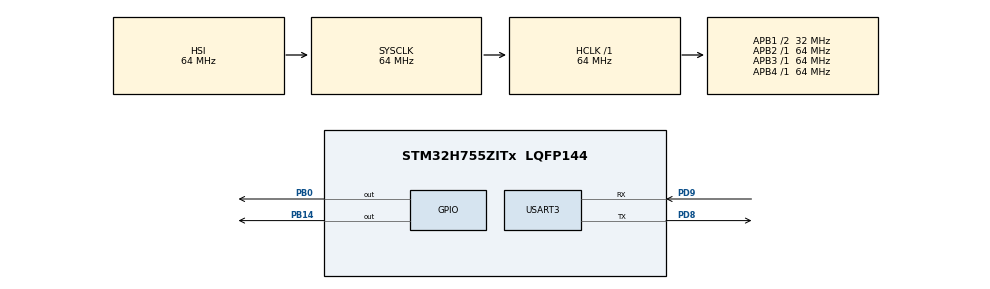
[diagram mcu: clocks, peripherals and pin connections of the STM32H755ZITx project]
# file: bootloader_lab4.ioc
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CortexM4.IPs=FATFS_M4\:I,FREERTOS_M4\:I,IWDG2\:I,RCC,WWDG2\:I,DMA,BDMA,MDMA,NVIC2\:I,ETH,DEBUG,PDM2PCM_M4\:I,PWR,RESMGR_UTILITY,SYS_M4\:I,USB_DEVICE_M4\:I,USB_HOST_M4\:I,CORTEX_M4\:I,GPIO,OPENAMP_M4\:I,VREFBUF,NUCLEO-H755ZI-Q
CortexM7.IPs=FATFS_M7\:I,FREERTOS_M7\:I,IWDG1\:I,RCC\:I,WWDG1\:I,DMA\:I,BDMA\:I,MDMA\:I,NVIC1\:I,ETH\:I,USART3\:I,USB_OTG_FS\:I,USB_OTG_FS1\:I,SYS\:I,CORTEX_M7\:I,DEBUG\:I,PDM2PCM_M7\:I,PWR\:I,RESMGR_UTILITY\:I,USB_DEVICE_M7\:I,USB_HOST_M7\:I,GPIO\:I,OPENAMP_M7\:I,VREFBUF\:I,NUCLEO-H755ZI-Q\:I
CortexM7.Pins=PB0,PB14
Mcu.Family=STM32H7
Mcu.Name=STM32H755ZITx
Mcu.Package=LQFP144
NVIC1.PriorityGroup=NVIC_PRIORITYGROUP_4
NVIC2.PriorityGroup=NVIC_PRIORITYGROUP_4
PA1.PinAttribute=CortexM7
PA1.Signal=ETH_REF_CLK
PA11.PinAttribute=CortexM7
PA11.Signal=USB_OTG_FS_DM
PA12.PinAttribute=CortexM7
PA12.Signal=USB_OTG_FS_DP
PA2.PinAttribute=CortexM7
PA2.Signal=ETH_MDIO
PA7.PinAttribute=CortexM7
PA7.Signal=ETH_CRS_DV
PA8.PinAttribute=CortexM7
PA8.Signal=USB_OTG_FS_SOF
PA9.PinAttribute=CortexM7
PA9.Signal=USB_OTG_FS_VBUS
PB0.PinAttribute=CortexM7
PB0.Signal=GPIO_Output
PB13.PinAttribute=CortexM7
PB13.Signal=ETH_TXD1
PB14.PinAttribute=CortexM7
PB14.Signal=GPIO_Output
PC1.PinAttribute=CortexM7
PC1.Signal=ETH_MDC
PC14-OSC32_IN\ (OSC32_IN).PinAttribute=Free
PC14-OSC32_IN\ (OSC32_IN).Signal=RCC_OSC32_IN
PC15-OSC32_OUT\ (OSC32_OUT).PinAttribute=Free
PC15-OSC32_OUT\ (OSC32_OUT).Signal=RCC_OSC32_OUT
PC4.PinAttribute=CortexM7
PC4.Signal=ETH_RXD0
PC5.PinAttribute=CortexM7
PC5.Signal=ETH_RXD1
PD8.Mode=Asynchronous
PD8.PinAttribute=CortexM7
PD8.Signal=USART3_TX
PD9.Mode=Asynchronous
PD9.PinAttribute=CortexM7
PD9.Signal=USART3_RX
PG11.PinAttribute=CortexM7
PG11.Signal=ETH_TX_EN
PG13.PinAttribute=CortexM7
PG13.Signal=ETH_TXD0
PH0-OSC_IN\ (PH0).PinAttribute=Free
PH0-OSC_IN\ (PH0).Signal=RCC_OSC_IN
PH1-OSC_OUT\ (PH1).PinAttribute=Free
PH1-OSC_OUT\ (PH1).Signal=RCC_OSC_OUT
ProjectManager.HeapSize=M4-0x200,M7-0x200
ProjectManager.StackSize=M4-0x400,M7-0x400
ProjectManager.TargetToolchain=STM32CubeIDE
RCC.ADCFreq_Value=129000000
RCC.APB1Freq_Value=32000000
RCC.APB2Freq_Value=64000000
RCC.APB3Freq_Value=64000000
RCC.APB4Freq_Value=64000000
RCC.CortexFreq_Value=64000000
RCC.D2PPRE1=RCC_APB1_DIV2
RCC.DIVM1=5
RCC.DIVN1=48
RCC.DIVQ1=5
RCC.HCLKFreq_Value=64000000
RCC.PLL2FRACN=0
RCC.PLL3FRACN=0
RCC.PLLFRACN=0
RCC.SYSCLKFreq_VALUE=64000000
RCC.SupplySource=PWR_DIRECT_SMPS_SUPPLY
RCC.USBFreq_Value=122880000
USART3.VirtualMode-Asynchronous=VM_ASYNC
VP_SYS_M4_VS_Systick.Mode=SysTick
board=NUCLEO-H755ZI-Q

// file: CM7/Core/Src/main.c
/* USER CODE BEGIN Header */
/**
  ******************************************************************************
  * @file           : main.c
  * @brief          : Main program body
  ******************************************************************************
  * @attention
  *
  * Copyright (c) 2026 STMicroelectronics.
  * All rights reserved.
  *
  * This software is licensed under terms that can be found in the LICENSE file
  * in the root directory of this software component.
  * If no LICENSE file comes with this software, it is provided AS-IS.
  *
  ******************************************************************************
  */
/* USER CODE END Header */
#include "main.h"

/* USER CODE BEGIN Includes */
#include "string.h"
#include "stdio.h"
/* USER CODE END Includes */

/* USER CODE BEGIN PD */

/* DUAL_CORE_BOOT_SYNC_SEQUENCE: Define for dual core boot synchronization    */
/*                             demonstration code based on hardware semaphore */
/* This define is present in both CM7/CM4 projects                            */
/* To comment when developping/debugging on a single core                     */
#define DUAL_CORE_BOOT_SYNC_SEQUENCE

#if defined(DUAL_CORE_BOOT_SYNC_SEQUENCE)
#ifndef HSEM_ID_0
#define HSEM_ID_0 (0U) /* HW semaphore 0*/
#endif
#endif /* DUAL_CORE_BOOT_SYNC_SEQUENCE */

/* USER CODE END PD */

UART_HandleTypeDef huart3;

void SystemClock_Config(void);
static void MX_GPIO_Init(void);
static void MX_USART3_UART_Init(void);

/* USER CODE BEGIN 0 */
static void print(const char *c){
	HAL_UART_Transmit(&huart3, (uint8_t *)c,(uint16_t)strlen(c),100);
}

#ifndef UID_BASE
#define UID_BASE 0x1FF1E800UL
#endif
static  void print_uid(void){
	uint32_t w0=*(volatile uint32_t *)(UID_BASE+0X00U);
	uint32_t w1=*(volatile uint32_t *)(UID_BASE+0X04U);
	uint32_t w2=*(volatile uint32_t *)(UID_BASE+0X08U);
	char line[64];
	snprintf(line, sizeof line, "UID: %08lX-%08lX-%08lX\r\n",
	           (unsigned long)w0, (unsigned long)w1, (unsigned long)w2);
	  print(line);

}
#define APP_ADDRESS   0x08020400UL
#define APP_FLASH_END 0x08100000UL   /* where the CM4 image starts */

static int app_is_valid(uint32_t sp, uint32_t reset)
{
  if (sp <= 0x24000000UL || sp > 0x24080000UL) return 0;           /* SP must be inside AXI SRAM */
  if (reset < APP_ADDRESS || reset >= APP_FLASH_END) return 0;     /* reset handler must be in app flash */
  if ((reset & 1U) == 0U) return 0;                                /* Thumb bit must be set */
  return 1;
}

static void check_app(void)
{
  uint32_t sp  = *(volatile uint32_t *)APP_ADDRESS;
  uint32_t rst = *(volatile uint32_t *)(APP_ADDRESS + 4U);
  char line[80];

  snprintf(line, sizeof line, "APP SP=%08lX RESET=%08lX %s\r\n",
           (unsigned long)sp, (unsigned long)rst,
           app_is_valid(sp, rst) ? "valid" : "INVALID");
  print(line);
}
static void jump_to_application(void)
{
  uint32_t sp  = *(volatile uint32_t *)APP_ADDRESS;
  uint32_t rst = *(volatile uint32_t *)(APP_ADDRESS + 4U);

  if (!app_is_valid(sp, rst)) return;

  print("Jumping to application\r\n");

  __disable_irq();
  HAL_UART_DeInit(&huart3);
  SysTick->CTRL = 0; SysTick->LOAD = 0; SysTick->VAL = 0;
  for (int i = 0; i < 8; i++) { NVIC->ICER[i] = 0xFFFFFFFFUL; NVIC->ICPR[i] = 0xFFFFFFFFUL; }

  SCB->VTOR = APP_ADDRESS;
  __DSB(); __ISB();
  __enable_irq();
  __asm volatile ("msr msp, %0 \n bx %1 \n" : : "r"(sp), "r"(rst));
}
/* USER CODE END 0 */

int main(void)
{

/* USER CODE BEGIN Boot_Mode_Sequence_0 */
#if defined(DUAL_CORE_BOOT_SYNC_SEQUENCE)
  int32_t timeout;
#endif /* DUAL_CORE_BOOT_SYNC_SEQUENCE */
/* USER CODE END Boot_Mode_Sequence_0 */

/* USER CODE BEGIN Boot_Mode_Sequence_1 */
#if defined(DUAL_CORE_BOOT_SYNC_SEQUENCE)
  /* Wait until CPU2 boots and enters in stop mode or timeout*/
  timeout = 0xFFFF;
  while((__HAL_RCC_GET_FLAG(RCC_FLAG_D2CKRDY) != RESET) && (timeout-- > 0));
  if ( timeout < 0 )
  {
  Error_Handler();
  }
#endif /* DUAL_CORE_BOOT_SYNC_SEQUENCE */
/* USER CODE END Boot_Mode_Sequence_1 */
  /* MCU Configuration--------------------------------------------------------*/

  /* Reset of all peripherals, Initializes the Flash interface and the Systick. */
  HAL_Init();

  /* Configure the system clock */
  SystemClock_Config();
/* USER CODE BEGIN Boot_Mode_Sequence_2 */
//#if defined(DUAL_CORE_BOOT_SYNC_SEQUENCE)
#if 0
/* When system initialization is finished, Cortex-M7 will release Cortex-M4 by means of
HSEM notification */
/*HW semaphore Clock enable*/
__HAL_RCC_HSEM_CLK_ENABLE();
/*Take HSEM */
//HAL_HSEM_FastTake(HSEM_ID_0);
/*Release HSEM in order to notify the CPU2(CM4)*/
HAL_HSEM_Release(HSEM_ID_0,0);
/* wait until CPU2 wakes up from stop mode */
timeout = 0xFFFF;
while((__HAL_RCC_GET_FLAG(RCC_FLAG_D2CKRDY) == RESET) && (timeout-- > 0));
if ( timeout < 0 )
{
Error_Handler();
}
#endif /* DUAL_CORE_BOOT_SYNC_SEQUENCE */
/* USER CODE END Boot_Mode_Sequence_2 */

  /* Initialize all configured peripherals */
  MX_GPIO_Init();
  MX_USART3_UART_Init();
  /* USER CODE BEGIN 2 */
  print("\r\n=== ELE304 bootloader ===\r\n");
  print_uid();
  check_app();
  jump_to_application();
  print("No valid application\r\n");   /* only reached if the jump was refused */
  /* USER CODE END 2 */

  /* Infinite loop */
  while (1)
  {

  }
}

void SystemClock_Config(void)
{
  RCC_OscInitTypeDef RCC_OscInitStruct = {0};
  RCC_ClkInitTypeDef RCC_ClkInitStruct = {0};

  /** Supply configuration update enable
  */
  HAL_PWREx_ConfigSupply(PWR_DIRECT_SMPS_SUPPLY);

  /** Configure the main internal regulator output voltage
  */
  __HAL_PWR_VOLTAGESCALING_CONFIG(PWR_REGULATOR_VOLTAGE_SCALE3);

  while(!__HAL_PWR_GET_FLAG(PWR_FLAG_VOSRDY)) {}

  /** Initializes the RCC Oscillators according to the specified parameters
  * in the RCC_OscInitTypeDef structure.
  */
  RCC_OscInitStruct.OscillatorType = RCC_OSCILLATORTYPE_HSI;
  RCC_OscInitStruct.HSIState = RCC_HSI_DIV1;
  RCC_OscInitStruct.HSICalibrationValue = RCC_HSICALIBRATION_DEFAULT;
  RCC_OscInitStruct.PLL.PLLState = RCC_PLL_NONE;
  if (HAL_RCC_OscConfig(&RCC_OscInitStruct) != HAL_OK)
  {
    Error_Handler();
  }

  /** Initializes the CPU, AHB and APB buses clocks
  */
  RCC_ClkInitStruct.ClockType = RCC_CLOCKTYPE_HCLK|RCC_CLOCKTYPE_SYSCLK
                              |RCC_CLOCKTYPE_PCLK1|RCC_CLOCKTYPE_PCLK2
                              |RCC_CLOCKTYPE_D3PCLK1|RCC_CLOCKTYPE_D1PCLK1;
  RCC_ClkInitStruct.SYSCLKSource = RCC_SYSCLKSOURCE_HSI;
  RCC_ClkInitStruct.SYSCLKDivider = RCC_SYSCLK_DIV1;
  RCC_ClkInitStruct.AHBCLKDivider = RCC_HCLK_DIV1;
  RCC_ClkInitStruct.APB3CLKDivider = RCC_APB3_DIV1;
  RCC_ClkInitStruct.APB1CLKDivider = RCC_APB1_DIV2;
  RCC_ClkInitStruct.APB2CLKDivider = RCC_APB2_DIV1;
  RCC_ClkInitStruct.APB4CLKDivider = RCC_APB4_DIV1;

  if (HAL_RCC_ClockConfig(&RCC_ClkInitStruct, FLASH_LATENCY_1) != HAL_OK)
  {
    Error_Handler();
  }
}

static void MX_USART3_UART_Init(void)
{

  huart3.Instance = USART3;
  huart3.Init.BaudRate = 115200;
  huart3.Init.WordLength = UART_WORDLENGTH_8B;
  huart3.Init.StopBits = UART_STOPBITS_1;
  huart3.Init.Parity = UART_PARITY_NONE;
  huart3.Init.Mode = UART_MODE_TX_RX;
  huart3.Init.HwFlowCtl = UART_HWCONTROL_NONE;
  huart3.Init.OverSampling = UART_OVERSAMPLING_16;
  huart3.Init.OneBitSampling = UART_ONE_BIT_SAMPLE_DISABLE;
  huart3.Init.ClockPrescaler = UART_PRESCALER_DIV1;
  huart3.AdvancedInit.AdvFeatureInit = UART_ADVFEATURE_NO_INIT;
  if (HAL_UART_Init(&huart3) != HAL_OK)
  {
    Error_Handler();
  }
  if (HAL_UARTEx_SetTxFifoThreshold(&huart3, UART_TXFIFO_THRESHOLD_1_8) != HAL_OK)
  {
    Error_Handler();
  }
  if (HAL_UARTEx_SetRxFifoThreshold(&huart3, UART_RXFIFO_THRESHOLD_1_8) != HAL_OK)
  {
    Error_Handler();
  }
  if (HAL_UARTEx_DisableFifoMode(&huart3) != HAL_OK)
  {
    Error_Handler();
  }

}

static void MX_GPIO_Init(void)
{
  GPIO_InitTypeDef GPIO_InitStruct = {0};

  /* GPIO Ports Clock Enable */
  __HAL_RCC_GPIOC_CLK_ENABLE();
  __HAL_RCC_GPIOA_CLK_ENABLE();
  __HAL_RCC_GPIOB_CLK_ENABLE();
  __HAL_RCC_GPIOD_CLK_ENABLE();
  __HAL_RCC_GPIOG_CLK_ENABLE();

  /*Configure GPIO pin Output Level */
  HAL_GPIO_WritePin(GPIOB, GPIO_PIN_0|GPIO_PIN_14, GPIO_PIN_RESET);

  /*Configure GPIO pins : PC1 PC4 PC5 */
  GPIO_InitStruct.Pin = GPIO_PIN_1|GPIO_PIN_4|GPIO_PIN_5;
  GPIO_InitStruct.Mode = GPIO_MODE_AF_PP;
  GPIO_InitStruct.Pull = GPIO_NOPULL;
  GPIO_InitStruct.Speed = GPIO_SPEED_FREQ_HIGH;
  GPIO_InitStruct.Alternate = GPIO_AF11_ETH;
  HAL_GPIO_Init(GPIOC, &GPIO_InitStruct);

  /*Configure GPIO pins : PA1 PA2 PA7 */
  GPIO_InitStruct.Pin = GPIO_PIN_1|GPIO_PIN_2|GPIO_PIN_7;
  GPIO_InitStruct.Mode = GPIO_MODE_AF_PP;
  GPIO_InitStruct.Pull = GPIO_NOPULL;
  GPIO_InitStruct.Speed = GPIO_SPEED_FREQ_HIGH;
  GPIO_InitStruct.Alternate = GPIO_AF11_ETH;
  HAL_GPIO_Init(GPIOA, &GPIO_InitStruct);

  /*Configure GPIO pins : PB0 PB14 */
  GPIO_InitStruct.Pin = GPIO_PIN_0|GPIO_PIN_14;
  GPIO_InitStruct.Mode = GPIO_MODE_OUTPUT_PP;
  GPIO_InitStruct.Pull = GPIO_NOPULL;
  GPIO_InitStruct.Speed = GPIO_SPEED_FREQ_LOW;
  HAL_GPIO_Init(GPIOB, &GPIO_InitStruct);

  /*Configure GPIO pin : PB13 */
  GPIO_InitStruct.Pin = GPIO_PIN_13;
  GPIO_InitStruct.Mode = GPIO_MODE_AF_PP;
  GPIO_InitStruct.Pull = GPIO_NOPULL;
  GPIO_InitStruct.Speed = GPIO_SPEED_FREQ_HIGH;
  GPIO_InitStruct.Alternate = GPIO_AF11_ETH;
  HAL_GPIO_Init(GPIOB, &GPIO_InitStruct);

  /*Configure GPIO pins : PA8 PA11 PA12 */
  GPIO_InitStruct.Pin = GPIO_PIN_8|GPIO_PIN_11|GPIO_PIN_12;
  GPIO_InitStruct.Mode = GPIO_MODE_AF_PP;
  GPIO_InitStruct.Pull = GPIO_NOPULL;
  GPIO_InitStruct.Speed = GPIO_SPEED_FREQ_LOW;
  GPIO_InitStruct.Alternate = GPIO_AF10_OTG1_FS;
  HAL_GPIO_Init(GPIOA, &GPIO_InitStruct);

  /*Configure GPIO pins : PG11 PG13 */
  GPIO_InitStruct.Pin = GPIO_PIN_11|GPIO_PIN_13;
  GPIO_InitStruct.Mode = GPIO_MODE_AF_PP;
  GPIO_InitStruct.Pull = GPIO_NOPULL;
  GPIO_InitStruct.Speed = GPIO_SPEED_FREQ_HIGH;
  GPIO_InitStruct.Alternate = GPIO_AF11_ETH;
  HAL_GPIO_Init(GPIOG, &GPIO_InitStruct);

}

void Error_Handler(void)
{
  __disable_irq();
  while (1)
  {
  }
}
